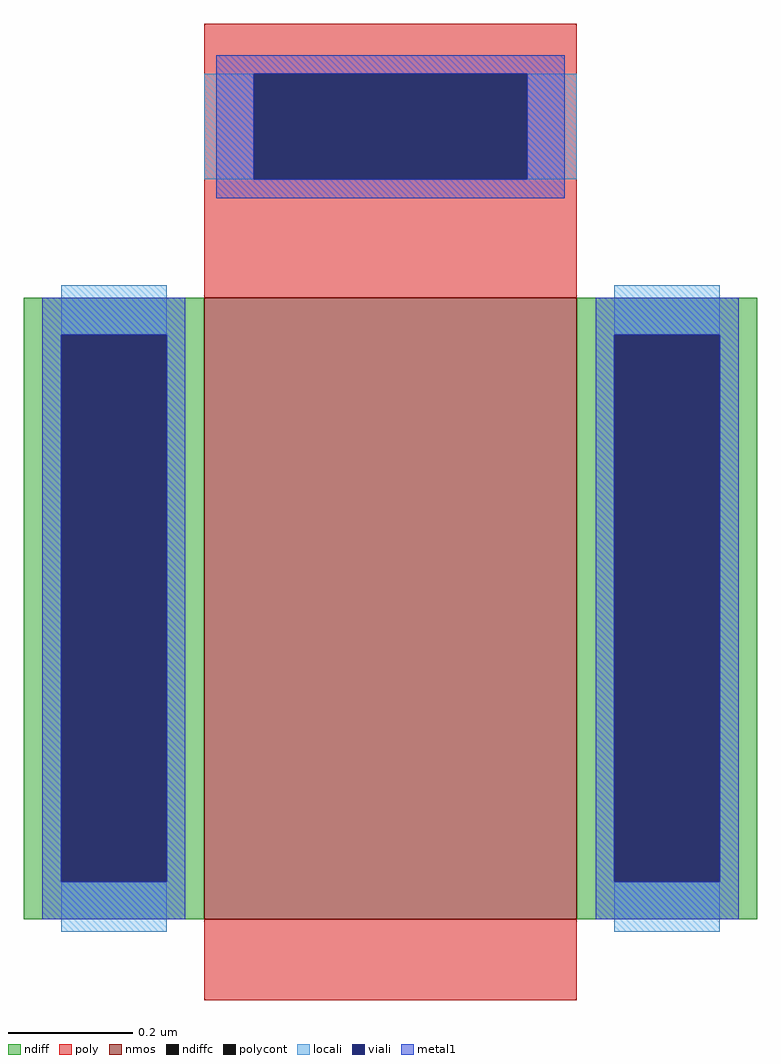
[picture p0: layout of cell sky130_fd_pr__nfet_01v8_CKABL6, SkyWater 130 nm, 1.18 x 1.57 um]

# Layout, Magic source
magic
tech sky130A
magscale 1 2
<< nmos >>
rect -60 -131 60 69
<< ndiff >>
rect -118 57 -60 69
rect -118 -119 -106 57
rect -72 -119 -60 57
rect -118 -131 -60 -119
rect 60 57 118 69
rect 60 -119 72 57
rect 106 -119 118 57
rect 60 -131 118 -119
<< ndiffc >>
rect -106 -119 -72 57
rect 72 -119 106 57
<< poly >>
rect -60 141 60 157
rect -60 107 -44 141
rect 44 107 60 141
rect -60 69 60 107
rect -60 -157 60 -131
<< polycont >>
rect -44 107 44 141
<< locali >>
rect -60 107 -44 141
rect 44 107 60 141
rect -106 57 -72 73
rect -106 -135 -72 -119
rect 72 57 106 73
rect 72 -135 106 -119
<< viali >>
rect -44 107 44 141
rect -106 -119 -72 57
rect 72 -119 106 57
<< metal1 >>
rect -56 141 56 147
rect -56 107 -44 141
rect 44 107 56 141
rect -56 101 56 107
rect -112 57 -66 69
rect -112 -119 -106 57
rect -72 -119 -66 57
rect -112 -131 -66 -119
rect 66 57 112 69
rect 66 -119 72 57
rect 106 -119 112 57
rect 66 -131 112 -119
<< properties >>
string gencell sky130_fd_pr__nfet_01v8
string library sky130
string parameters w 1 l 0.6 m 1 nf 1 diffcov 100 polycov 100 guard 0 glc 1 grc 1 gtc 1 gbc 1 tbcov 100 rlcov 100 topc 1 botc 0 poverlap 0 doverlap 1 lmin 0.15 wmin 0.42 compatible {sky130_fd_pr__nfet_01v8 sky130_fd_pr__nfet_01v8_lvt  sky130_fd_bs_flash__special_sonosfet_star  sky130_fd_pr__nfet_g5v0d10v5 sky130_fd_pr__nfet_05v0_nvt  sky130_fd_pr__nfet_03v3_nvt} full_metal 1 viasrc 100 viadrn 100 viagate 100 viagb 0 viagr 0 viagl 0 viagt 0
<< end >>
